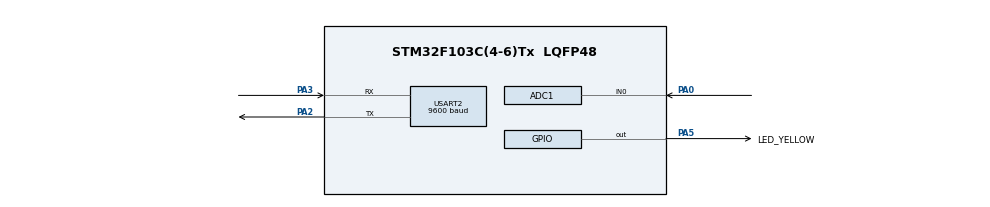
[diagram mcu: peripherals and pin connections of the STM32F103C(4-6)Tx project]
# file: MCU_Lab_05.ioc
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ADC1.Channel-0\#ChannelRegularConversion=ADC_CHANNEL_0
ADC1.ContinuousConvMode=ENABLE
ADC1.NbrOfConversionFlag=1
ADC1.Rank-0\#ChannelRegularConversion=1
ADC1.SamplingTime-0\#ChannelRegularConversion=ADC_SAMPLETIME_1CYCLE_5
ADC1.master=1
Mcu.Family=STM32F1
Mcu.Name=STM32F103C(4-6)Tx
Mcu.Package=LQFP48
NVIC.PriorityGroup=NVIC_PRIORITYGROUP_4
NVIC.TIM2_IRQn=true\:0\:0\:false\:false\:true\:true\:true\:true
NVIC.USART2_IRQn=true\:0\:0\:false\:false\:true\:true\:true\:true
PA0-WKUP.Signal=ADCx_IN0
PA2.Mode=Asynchronous
PA2.Signal=USART2_TX
PA3.Mode=Asynchronous
PA3.Signal=USART2_RX
PA5.GPIO_Label=LED_YELLOW
PA5.Signal=GPIO_Output
ProjectManager.HeapSize=0x200
ProjectManager.StackSize=0x400
ProjectManager.TargetToolchain=STM32CubeIDE
RCC.APB1Freq_Value=8000000
RCC.APB2Freq_Value=8000000
SH.ADCx_IN0.0=ADC1_IN0,IN0
TIM2.Period=9
TIM2.Prescaler=7999
USART2.BaudRate=9600
USART2.VirtualMode=VM_ASYNC
VP_SYS_VS_ND.Mode=No_Debug
VP_TIM2_VS_ClockSourceINT.Mode=Internal
board=custom

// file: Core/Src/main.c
/* USER CODE BEGIN Header */
/**
  ******************************************************************************
  * @file           : main.c
  * @brief          : Main program body
  ******************************************************************************
  * @attention
  *
  * Copyright (c) 2025 STMicroelectronics.
  * All rights reserved.
  *
  * This software is licensed under terms that can be found in the LICENSE file
  * in the root directory of this software component.
  * If no LICENSE file comes with this software, it is provided AS-IS.
  *
  ******************************************************************************
  */
/* USER CODE END Header */
#include "main.h"

/* USER CODE BEGIN Includes */
#include <stdio.h>
#include <string.h>
/* USER CODE END Includes */

ADC_HandleTypeDef hadc1;

TIM_HandleTypeDef htim2;

UART_HandleTypeDef huart2;

void SystemClock_Config(void);
static void MX_GPIO_Init(void);
static void MX_ADC1_Init(void);
static void MX_USART2_UART_Init(void);
static void MX_TIM2_Init(void);
/* USER CODE BEGIN PFP */
void command_parser_fsm(void);
void uart_communication_fsm(void);
/* USER CODE END PFP */

/* USER CODE BEGIN 0 */
//uint8_t temp = 0;
//
//void  HAL_UART_RxCpltCallback(UART_HandleTypeDef *huart)
//{
//	if (huart->Instance == USART2)
//	{
//		HAL_UART_Transmit(&huart2, &temp, 1, 50);
//		HAL_UART_Receive_IT(&huart2, &temp, 1);
//	}
//}
#define MAX_BUFFER_SIZE 30
uint8_t temp = 0;
uint8_t buffer[MAX_BUFFER_SIZE];
uint8_t index_buffer = 0;
uint8_t buffer_flag = 0;

uint8_t command_buffer[MAX_BUFFER_SIZE];
uint8_t command_index = 0;
uint8_t read_index = 0;
uint8_t command_flag = 0;	//0:nothing, 1:RST, 2:OK

volatile uint32_t ADC_value = 0;
char str[MAX_BUFFER_SIZE];

enum
{
	PARSER_IDLE,
	PARSER_RECEIVING
} parser_state = PARSER_IDLE;

enum
{
	COMMUNICATION_RST,
	COMMUNICATION_OK
} communication_state = COMMUNICATION_RST;

void HAL_UART_RxCpltCallback(UART_HandleTypeDef *huart)
{
    if (huart->Instance == USART2)
    {
        HAL_UART_Transmit(&huart2, &temp, 1, 50);
        buffer[index_buffer++] = temp;
        if (index_buffer == MAX_BUFFER_SIZE)
        	index_buffer = 0;

        buffer_flag = 1;

        HAL_UART_Receive_IT(&huart2, &temp, 1);
    }
}
/* USER CODE END 0 */

int main(void)
{

  /* MCU Configuration--------------------------------------------------------*/

  /* Reset of all peripherals, Initializes the Flash interface and the Systick. */
  HAL_Init();

  /* Configure the system clock */
  SystemClock_Config();

  /* Initialize all configured peripherals */
  MX_GPIO_Init();
  MX_ADC1_Init();
  MX_USART2_UART_Init();
  MX_TIM2_Init();
  /* USER CODE BEGIN 2 */
  HAL_UART_Receive_IT(&huart2, &temp, 1);
  HAL_TIM_Base_Start_IT(&htim2);
  HAL_ADC_Start(&hadc1);

  setTimer(0, 500);
  /* USER CODE END 2 */

  /* Infinite loop */
  /* USER CODE BEGIN WHILE */
  while (1)
  {
	  if (buffer_flag == 1)
	  {
		  command_parser_fsm();
		  buffer_flag = 0;
	  }
	  uart_communication_fsm();

	  if (isTimerExpired(0))
	  {
		  HAL_GPIO_TogglePin(LED_YELLOW_GPIO_Port, LED_YELLOW_Pin);
		  setTimer(0, 500);
	  }
    /* USER CODE END WHILE */

  }
}

void SystemClock_Config(void)
{
  RCC_OscInitTypeDef RCC_OscInitStruct = {0};
  RCC_ClkInitTypeDef RCC_ClkInitStruct = {0};
  RCC_PeriphCLKInitTypeDef PeriphClkInit = {0};

  /** Initializes the RCC Oscillators according to the specified parameters
  * in the RCC_OscInitTypeDef structure.
  */
  RCC_OscInitStruct.OscillatorType = RCC_OSCILLATORTYPE_HSI;
  RCC_OscInitStruct.HSIState = RCC_HSI_ON;
  RCC_OscInitStruct.HSICalibrationValue = RCC_HSICALIBRATION_DEFAULT;
  RCC_OscInitStruct.PLL.PLLState = RCC_PLL_NONE;
  if (HAL_RCC_OscConfig(&RCC_OscInitStruct) != HAL_OK)
  {
    Error_Handler();
  }

  /** Initializes the CPU, AHB and APB buses clocks
  */
  RCC_ClkInitStruct.ClockType = RCC_CLOCKTYPE_HCLK|RCC_CLOCKTYPE_SYSCLK
                              |RCC_CLOCKTYPE_PCLK1|RCC_CLOCKTYPE_PCLK2;
  RCC_ClkInitStruct.SYSCLKSource = RCC_SYSCLKSOURCE_HSI;
  RCC_ClkInitStruct.AHBCLKDivider = RCC_SYSCLK_DIV1;
  RCC_ClkInitStruct.APB1CLKDivider = RCC_HCLK_DIV1;
  RCC_ClkInitStruct.APB2CLKDivider = RCC_HCLK_DIV1;

  if (HAL_RCC_ClockConfig(&RCC_ClkInitStruct, FLASH_LATENCY_0) != HAL_OK)
  {
    Error_Handler();
  }
  PeriphClkInit.PeriphClockSelection = RCC_PERIPHCLK_ADC;
  PeriphClkInit.AdcClockSelection = RCC_ADCPCLK2_DIV2;
  if (HAL_RCCEx_PeriphCLKConfig(&PeriphClkInit) != HAL_OK)
  {
    Error_Handler();
  }
}

static void MX_ADC1_Init(void)
{

  ADC_ChannelConfTypeDef sConfig = {0};

  /** Common config
  */
  hadc1.Instance = ADC1;
  hadc1.Init.ScanConvMode = ADC_SCAN_DISABLE;
  hadc1.Init.ContinuousConvMode = ENABLE;
  hadc1.Init.DiscontinuousConvMode = DISABLE;
  hadc1.Init.ExternalTrigConv = ADC_SOFTWARE_START;
  hadc1.Init.DataAlign = ADC_DATAALIGN_RIGHT;
  hadc1.Init.NbrOfConversion = 1;
  if (HAL_ADC_Init(&hadc1) != HAL_OK)
  {
    Error_Handler();
  }

  /** Configure Regular Channel
  */
  sConfig.Channel = ADC_CHANNEL_0;
  sConfig.Rank = ADC_REGULAR_RANK_1;
  sConfig.SamplingTime = ADC_SAMPLETIME_1CYCLE_5;
  if (HAL_ADC_ConfigChannel(&hadc1, &sConfig) != HAL_OK)
  {
    Error_Handler();
  }

}

static void MX_TIM2_Init(void)
{

  TIM_ClockConfigTypeDef sClockSourceConfig = {0};
  TIM_MasterConfigTypeDef sMasterConfig = {0};

  htim2.Instance = TIM2;
  htim2.Init.Prescaler = 7999;
  htim2.Init.CounterMode = TIM_COUNTERMODE_UP;
  htim2.Init.Period = 9;
  htim2.Init.ClockDivision = TIM_CLOCKDIVISION_DIV1;
  htim2.Init.AutoReloadPreload = TIM_AUTORELOAD_PRELOAD_DISABLE;
  if (HAL_TIM_Base_Init(&htim2) != HAL_OK)
  {
    Error_Handler();
  }
  sClockSourceConfig.ClockSource = TIM_CLOCKSOURCE_INTERNAL;
  if (HAL_TIM_ConfigClockSource(&htim2, &sClockSourceConfig) != HAL_OK)
  {
    Error_Handler();
  }
  sMasterConfig.MasterOutputTrigger = TIM_TRGO_RESET;
  sMasterConfig.MasterSlaveMode = TIM_MASTERSLAVEMODE_DISABLE;
  if (HAL_TIMEx_MasterConfigSynchronization(&htim2, &sMasterConfig) != HAL_OK)
  {
    Error_Handler();
  }

}

static void MX_USART2_UART_Init(void)
{

  huart2.Instance = USART2;
  huart2.Init.BaudRate = 9600;
  huart2.Init.WordLength = UART_WORDLENGTH_8B;
  huart2.Init.StopBits = UART_STOPBITS_1;
  huart2.Init.Parity = UART_PARITY_NONE;
  huart2.Init.Mode = UART_MODE_TX_RX;
  huart2.Init.HwFlowCtl = UART_HWCONTROL_NONE;
  huart2.Init.OverSampling = UART_OVERSAMPLING_16;
  if (HAL_UART_Init(&huart2) != HAL_OK)
  {
    Error_Handler();
  }

}

static void MX_GPIO_Init(void)
{
  GPIO_InitTypeDef GPIO_InitStruct = {0};

  /* GPIO Ports Clock Enable */
  __HAL_RCC_GPIOA_CLK_ENABLE();

  /*Configure GPIO pin Output Level */
  HAL_GPIO_WritePin(LED_YELLOW_GPIO_Port, LED_YELLOW_Pin, GPIO_PIN_RESET);

  /*Configure GPIO pin : LED_YELLOW_Pin */
  GPIO_InitStruct.Pin = LED_YELLOW_Pin;
  GPIO_InitStruct.Mode = GPIO_MODE_OUTPUT_PP;
  GPIO_InitStruct.Pull = GPIO_NOPULL;
  GPIO_InitStruct.Speed = GPIO_SPEED_FREQ_LOW;
  HAL_GPIO_Init(LED_YELLOW_GPIO_Port, &GPIO_InitStruct);

}

/* USER CODE BEGIN 4 */
void command_parser_fsm()
{
	while (read_index != index_buffer)
	{
		char read_char = buffer[read_index];

		read_index++;
		if (read_index >= MAX_BUFFER_SIZE)
			read_index = 0;

		switch(parser_state)
		{
		case PARSER_IDLE:
			if (read_char == '!')
			{
				parser_state = PARSER_RECEIVING;
				command_index = 0;
			}
			break;

		case PARSER_RECEIVING:
			if (read_char == '#')
			{
				command_buffer[command_index] = '\0';	// end buffer
				if (strcmp((const char*)command_buffer, "RST") == 0)
					command_flag = 1;
				if (strcmp((const char*)command_buffer, "OK") == 0)
					command_flag = 2;

				parser_state = PARSER_IDLE;
			}
			else
			{
				if(command_index < MAX_BUFFER_SIZE - 1)
					command_buffer[command_index++] = read_char;
				else
					parser_state = PARSER_IDLE;
			}
			break;
		}
	}
}

void uart_communication_fsm()
{
	switch(communication_state)
	{
	case COMMUNICATION_RST:
		if (command_flag == 1)
		{
			command_flag = 0;	// reset

			ADC_value = HAL_ADC_GetValue(&hadc1);
			sprintf(str, "!ADC=%d#", (int)ADC_value);
			HAL_UART_Transmit(&huart2, (uint8_t *)str, strlen(str), 1000);

			setTimer(1, 3000);	// Waiting 3s

			communication_state = COMMUNICATION_OK;
		}
		break;

	case COMMUNICATION_OK:
		if (command_flag == 2)
		{
			command_flag = 0;	// reset
			communication_state = COMMUNICATION_RST;
		}
		else
		{
			if (isTimerExpired(1))
			{
				sprintf(str, "!ADC=%d#", (int)ADC_value);
				HAL_UART_Transmit(&huart2, (uint8_t *)str, strlen(str), 1000);
				setTimer(1, 3000);	// Waiting 3s again
			}
		}
		break;
	}
}
/* USER CODE END 4 */

void Error_Handler(void)
{
  __disable_irq();
  while (1)
  {
  }
}
